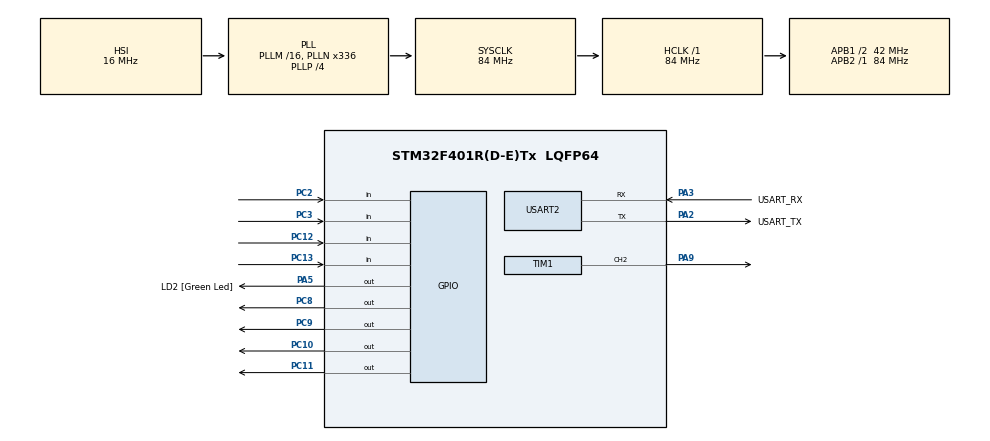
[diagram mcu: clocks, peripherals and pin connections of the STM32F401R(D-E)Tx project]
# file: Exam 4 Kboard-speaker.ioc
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Mcu.Family=STM32F4
Mcu.Name=STM32F401R(D-E)Tx
Mcu.Package=LQFP64
NVIC.PriorityGroup=NVIC_PRIORITYGROUP_0
NVIC.TIM3_IRQn=true\:0\:0\:false\:false\:true\:true\:true\:true
PA13.GPIO_Label=TMS
PA13.Mode=Serial_Wire
PA13.Signal=SYS_JTMS-SWDIO
PA14.GPIO_Label=TCK
PA14.Mode=Serial_Wire
PA14.Signal=SYS_JTCK-SWCLK
PA2.GPIO_Label=USART_TX
PA2.GPIO_Mode=GPIO_MODE_AF_PP
PA2.GPIO_PuPd=GPIO_NOPULL
PA2.GPIO_Speed=GPIO_SPEED_FREQ_LOW
PA2.Mode=Asynchronous
PA2.Signal=USART2_TX
PA3.GPIO_Label=USART_RX
PA3.GPIO_Mode=GPIO_MODE_AF_PP
PA3.GPIO_PuPd=GPIO_NOPULL
PA3.GPIO_Speed=GPIO_SPEED_FREQ_LOW
PA3.Mode=Asynchronous
PA3.Signal=USART2_RX
PA5.GPIO_Label=LD2 [Green Led]
PA5.GPIO_Mode=GPIO_MODE_OUTPUT_PP
PA5.GPIO_PuPd=GPIO_NOPULL
PA5.GPIO_Speed=GPIO_SPEED_FREQ_LOW
PA5.Signal=GPIO_Output
PA9.Signal=S_TIM1_CH2
PB3.GPIO_Label=SWO
PB3.Signal=SYS_JTDO-SWO
PC10.Signal=GPIO_Output
PC11.Signal=GPIO_Output
PC12.Signal=GPIO_Input
PC13-ANTI_TAMP.Signal=GPIO_Input
PC14-OSC32_IN.Mode=LSE-External-Oscillator
PC14-OSC32_IN.Signal=RCC_OSC32_IN
PC15-OSC32_OUT.Mode=LSE-External-Oscillator
PC15-OSC32_OUT.Signal=RCC_OSC32_OUT
PC2.Signal=GPIO_Input
PC3.Signal=GPIO_Input
PC8.Signal=GPIO_Output
PC9.Signal=GPIO_Output
PH0\ -\ OSC_IN.Mode=HSE-External-Clock-Source
PH0\ -\ OSC_IN.Signal=RCC_OSC_IN
PH1\ -\ OSC_OUT.Mode=HSE-External-Clock-Source
PH1\ -\ OSC_OUT.Signal=RCC_OSC_OUT
ProjectManager.HeapSize=0x200
ProjectManager.StackSize=0x400
ProjectManager.TargetToolchain=STM32CubeIDE
RCC.48MHZClocksFreq_Value=48000000
RCC.AHBFreq_Value=84000000
RCC.APB1CLKDivider=RCC_HCLK_DIV2
RCC.APB1Freq_Value=42000000
RCC.APB1TimFreq_Value=84000000
RCC.APB2Freq_Value=84000000
RCC.APB2TimFreq_Value=84000000
RCC.CortexFreq_Value=84000000
RCC.HCLKFreq_Value=84000000
RCC.HSE_VALUE=8000000
RCC.HSI_VALUE=16000000
RCC.PLLN=336
RCC.PLLP=RCC_PLLP_DIV4
RCC.PLLQ=7
RCC.SYSCLKFreq_VALUE=84000000
RCC.SYSCLKSource=RCC_SYSCLKSOURCE_PLLCLK
RCC.VCOOutputFreq_Value=336000000
SH.S_TIM1_CH2.0=TIM1_CH2,PWM Generation2 CH2
TIM1.Channel-PWM\ Generation2\ CH2=TIM_CHANNEL_2
TIM1.Prescaler=84-1
TIM3.Period=100-1
TIM3.Prescaler=8400-1
USART2.VirtualMode=VM_ASYNC
VP_TIM1_VS_ClockSourceINT.Mode=Internal
VP_TIM3_VS_ClockSourceINT.Mode=Internal
board=NUCLEO-F401RE

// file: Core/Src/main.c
/* USER CODE BEGIN Header */
/**
 ******************************************************************************
 * @file           : main.c
 * @brief          : Main program body
 ******************************************************************************
 * @attention
 *
 * Copyright (c) 2023 STMicroelectronics.
 * All rights reserved.
 *
 * This software is licensed under terms that can be found in the LICENSE file
 * in the root directory of this software component.
 * If no LICENSE file comes with this software, it is provided AS-IS.
 *
 ******************************************************************************
 */
/* USER CODE END Header */
#include "main.h"

/* USER CODE BEGIN Includes */
#include <stdio.h>
#include <math.h>
/* USER CODE END Includes */

/* USER CODE BEGIN PD */
#define N_COLS 4
#define N_ROWS 4
/* USER CODE END PD */

TIM_HandleTypeDef htim1;
TIM_HandleTypeDef htim3;

UART_HandleTypeDef huart2;

/* USER CODE BEGIN PV */
//defined pins for output and input in order of correct activation
uint16_t k_input[] = { GPIO_PIN_3, GPIO_PIN_2, GPIO_PIN_13, GPIO_PIN_12 };
uint16_t k_output[] = { GPIO_PIN_8, GPIO_PIN_9, GPIO_PIN_10, GPIO_PIN_11 };

/* USER CODE END PV */

void SystemClock_Config(void);
static void MX_GPIO_Init(void);
static void MX_USART2_UART_Init(void);
static void MX_TIM3_Init(void);
static void MX_TIM1_Init(void);

/* USER CODE BEGIN 0 */
void set_pwm(float freq){
	htim1.Init.Period = 1000000/freq-1;
	if (HAL_TIM_PWM_Init(&htim1) != HAL_OK)	Error_Handler();

	TIM_OC_InitTypeDef sConfigOC = {0};

	sConfigOC.OCMode = TIM_OCMODE_PWM1;
	sConfigOC.Pulse = 1000000/freq/2-1;
	sConfigOC.OCPolarity = TIM_OCPOLARITY_HIGH;
	sConfigOC.OCNPolarity = TIM_OCNPOLARITY_HIGH;
	sConfigOC.OCFastMode = TIM_OCFAST_DISABLE;
	sConfigOC.OCIdleState = TIM_OCIDLESTATE_RESET;
	sConfigOC.OCNIdleState = TIM_OCNIDLESTATE_RESET;
	if (HAL_TIM_PWM_ConfigChannel(&htim1, &sConfigOC, TIM_CHANNEL_2) != HAL_OK)	Error_Handler();
}

void HAL_TIM_PeriodElapsedCallback(TIM_HandleTypeDef *htim) {
	if (htim == &htim3) {
		static const char lett[16] = "CDEF89AB45670123"; //initialized letters array
		static char state[16] = { 0 }; //initialized states of buttons
		static int col = 0; //index for column
		char string[64];
		HAL_GPIO_WritePin(GPIOC, k_output[col], 1);

		for (int i = 0; i < N_ROWS; i++) {
			int on = !HAL_GPIO_ReadPin(GPIOC, k_input[i]);

			if (on && state[col + i * N_ROWS] == 0) {

				int size = sprintf(string, "Pressed char: %c\r\n", lett[col + i * N_ROWS]);
				HAL_UART_Transmit(&huart2, string, size, 50);

				//manage sound and led
				if((col == 0 || col== 3) && (i == 0 || i == 3)){
					set_pwm(58.27*pow(2, col+i/2));
					HAL_TIM_PWM_Start(&htim1, TIM_CHANNEL_2);
				}else{
					HAL_GPIO_WritePin(GPIOA, GPIO_PIN_5, 1);
				}

				state[col + i * N_ROWS] = 1;

			} else if (!on && state[col + i * N_ROWS] == 1) {
				state[col + i * N_ROWS] = 0;
				if((col == 0 || col== 3) && (i == 0 || i == 3)){
					HAL_TIM_PWM_Stop(&htim1, TIM_CHANNEL_2);
				}else{
					HAL_GPIO_WritePin(GPIOA, GPIO_PIN_5, 0);
				}
			}
		}

		HAL_GPIO_WritePin(GPIOC, k_output[col], 0);
		col = (col+1) % N_COLS;
		HAL_GPIO_WritePin(GPIOC, k_output[col], 1);

	}
}
/* USER CODE END 0 */

int main(void)
{

  /* MCU Configuration--------------------------------------------------------*/

  /* Reset of all peripherals, Initializes the Flash interface and the Systick. */
  HAL_Init();

  /* Configure the system clock */
  SystemClock_Config();

  /* Initialize all configured peripherals */
  MX_GPIO_Init();
  MX_USART2_UART_Init();
  MX_TIM3_Init();
  MX_TIM1_Init();
  /* USER CODE BEGIN 2 */
  HAL_TIM_Base_Start_IT(&htim3);

  /* USER CODE END 2 */

  /* Infinite loop */
	while (1) {

	}
}

void SystemClock_Config(void)
{
  RCC_OscInitTypeDef RCC_OscInitStruct = {0};
  RCC_ClkInitTypeDef RCC_ClkInitStruct = {0};

  /** Configure the main internal regulator output voltage
  */
  __HAL_RCC_PWR_CLK_ENABLE();
  __HAL_PWR_VOLTAGESCALING_CONFIG(PWR_REGULATOR_VOLTAGE_SCALE2);

  /** Initializes the RCC Oscillators according to the specified parameters
  * in the RCC_OscInitTypeDef structure.
  */
  RCC_OscInitStruct.OscillatorType = RCC_OSCILLATORTYPE_HSI;
  RCC_OscInitStruct.HSIState = RCC_HSI_ON;
  RCC_OscInitStruct.HSICalibrationValue = RCC_HSICALIBRATION_DEFAULT;
  RCC_OscInitStruct.PLL.PLLState = RCC_PLL_ON;
  RCC_OscInitStruct.PLL.PLLSource = RCC_PLLSOURCE_HSI;
  RCC_OscInitStruct.PLL.PLLM = 16;
  RCC_OscInitStruct.PLL.PLLN = 336;
  RCC_OscInitStruct.PLL.PLLP = RCC_PLLP_DIV4;
  RCC_OscInitStruct.PLL.PLLQ = 7;
  if (HAL_RCC_OscConfig(&RCC_OscInitStruct) != HAL_OK)
  {
    Error_Handler();
  }

  /** Initializes the CPU, AHB and APB buses clocks
  */
  RCC_ClkInitStruct.ClockType = RCC_CLOCKTYPE_HCLK|RCC_CLOCKTYPE_SYSCLK
                              |RCC_CLOCKTYPE_PCLK1|RCC_CLOCKTYPE_PCLK2;
  RCC_ClkInitStruct.SYSCLKSource = RCC_SYSCLKSOURCE_PLLCLK;
  RCC_ClkInitStruct.AHBCLKDivider = RCC_SYSCLK_DIV1;
  RCC_ClkInitStruct.APB1CLKDivider = RCC_HCLK_DIV2;
  RCC_ClkInitStruct.APB2CLKDivider = RCC_HCLK_DIV1;

  if (HAL_RCC_ClockConfig(&RCC_ClkInitStruct, FLASH_LATENCY_2) != HAL_OK)
  {
    Error_Handler();
  }
}

static void MX_TIM1_Init(void)
{

  TIM_ClockConfigTypeDef sClockSourceConfig = {0};
  TIM_MasterConfigTypeDef sMasterConfig = {0};
  TIM_OC_InitTypeDef sConfigOC = {0};
  TIM_BreakDeadTimeConfigTypeDef sBreakDeadTimeConfig = {0};

  htim1.Instance = TIM1;
  htim1.Init.Prescaler = 84-1;
  htim1.Init.CounterMode = TIM_COUNTERMODE_UP;
  htim1.Init.Period = 65535;
  htim1.Init.ClockDivision = TIM_CLOCKDIVISION_DIV1;
  htim1.Init.RepetitionCounter = 0;
  htim1.Init.AutoReloadPreload = TIM_AUTORELOAD_PRELOAD_DISABLE;
  if (HAL_TIM_Base_Init(&htim1) != HAL_OK)
  {
    Error_Handler();
  }
  sClockSourceConfig.ClockSource = TIM_CLOCKSOURCE_INTERNAL;
  if (HAL_TIM_ConfigClockSource(&htim1, &sClockSourceConfig) != HAL_OK)
  {
    Error_Handler();
  }
  if (HAL_TIM_PWM_Init(&htim1) != HAL_OK)
  {
    Error_Handler();
  }
  sMasterConfig.MasterOutputTrigger = TIM_TRGO_RESET;
  sMasterConfig.MasterSlaveMode = TIM_MASTERSLAVEMODE_DISABLE;
  if (HAL_TIMEx_MasterConfigSynchronization(&htim1, &sMasterConfig) != HAL_OK)
  {
    Error_Handler();
  }
  sConfigOC.OCMode = TIM_OCMODE_PWM1;
  sConfigOC.Pulse = 0;
  sConfigOC.OCPolarity = TIM_OCPOLARITY_HIGH;
  sConfigOC.OCNPolarity = TIM_OCNPOLARITY_HIGH;
  sConfigOC.OCFastMode = TIM_OCFAST_DISABLE;
  sConfigOC.OCIdleState = TIM_OCIDLESTATE_RESET;
  sConfigOC.OCNIdleState = TIM_OCNIDLESTATE_RESET;
  if (HAL_TIM_PWM_ConfigChannel(&htim1, &sConfigOC, TIM_CHANNEL_2) != HAL_OK)
  {
    Error_Handler();
  }
  sBreakDeadTimeConfig.OffStateRunMode = TIM_OSSR_DISABLE;
  sBreakDeadTimeConfig.OffStateIDLEMode = TIM_OSSI_DISABLE;
  sBreakDeadTimeConfig.LockLevel = TIM_LOCKLEVEL_OFF;
  sBreakDeadTimeConfig.DeadTime = 0;
  sBreakDeadTimeConfig.BreakState = TIM_BREAK_DISABLE;
  sBreakDeadTimeConfig.BreakPolarity = TIM_BREAKPOLARITY_HIGH;
  sBreakDeadTimeConfig.AutomaticOutput = TIM_AUTOMATICOUTPUT_DISABLE;
  if (HAL_TIMEx_ConfigBreakDeadTime(&htim1, &sBreakDeadTimeConfig) != HAL_OK)
  {
    Error_Handler();
  }
  HAL_TIM_MspPostInit(&htim1);

}

static void MX_TIM3_Init(void)
{

  TIM_ClockConfigTypeDef sClockSourceConfig = {0};
  TIM_MasterConfigTypeDef sMasterConfig = {0};

  htim3.Instance = TIM3;
  htim3.Init.Prescaler = 8400-1;
  htim3.Init.CounterMode = TIM_COUNTERMODE_UP;
  htim3.Init.Period = 100-1;
  htim3.Init.ClockDivision = TIM_CLOCKDIVISION_DIV1;
  htim3.Init.AutoReloadPreload = TIM_AUTORELOAD_PRELOAD_DISABLE;
  if (HAL_TIM_Base_Init(&htim3) != HAL_OK)
  {
    Error_Handler();
  }
  sClockSourceConfig.ClockSource = TIM_CLOCKSOURCE_INTERNAL;
  if (HAL_TIM_ConfigClockSource(&htim3, &sClockSourceConfig) != HAL_OK)
  {
    Error_Handler();
  }
  sMasterConfig.MasterOutputTrigger = TIM_TRGO_RESET;
  sMasterConfig.MasterSlaveMode = TIM_MASTERSLAVEMODE_DISABLE;
  if (HAL_TIMEx_MasterConfigSynchronization(&htim3, &sMasterConfig) != HAL_OK)
  {
    Error_Handler();
  }

}

static void MX_USART2_UART_Init(void)
{

  huart2.Instance = USART2;
  huart2.Init.BaudRate = 115200;
  huart2.Init.WordLength = UART_WORDLENGTH_8B;
  huart2.Init.StopBits = UART_STOPBITS_1;
  huart2.Init.Parity = UART_PARITY_NONE;
  huart2.Init.Mode = UART_MODE_TX_RX;
  huart2.Init.HwFlowCtl = UART_HWCONTROL_NONE;
  huart2.Init.OverSampling = UART_OVERSAMPLING_16;
  if (HAL_UART_Init(&huart2) != HAL_OK)
  {
    Error_Handler();
  }

}

static void MX_GPIO_Init(void)
{
  GPIO_InitTypeDef GPIO_InitStruct = {0};

  /* GPIO Ports Clock Enable */
  __HAL_RCC_GPIOC_CLK_ENABLE();
  __HAL_RCC_GPIOH_CLK_ENABLE();
  __HAL_RCC_GPIOA_CLK_ENABLE();
  __HAL_RCC_GPIOB_CLK_ENABLE();

  /*Configure GPIO pin Output Level */
  HAL_GPIO_WritePin(LD2_GPIO_Port, LD2_Pin, GPIO_PIN_RESET);

  /*Configure GPIO pin Output Level */
  HAL_GPIO_WritePin(GPIOC, GPIO_PIN_8|GPIO_PIN_9|GPIO_PIN_10|GPIO_PIN_11, GPIO_PIN_RESET);

  /*Configure GPIO pins : PC13 PC2 PC3 PC12 */
  GPIO_InitStruct.Pin = GPIO_PIN_13|GPIO_PIN_2|GPIO_PIN_3|GPIO_PIN_12;
  GPIO_InitStruct.Mode = GPIO_MODE_INPUT;
  GPIO_InitStruct.Pull = GPIO_NOPULL;
  HAL_GPIO_Init(GPIOC, &GPIO_InitStruct);

  /*Configure GPIO pin : LD2_Pin */
  GPIO_InitStruct.Pin = LD2_Pin;
  GPIO_InitStruct.Mode = GPIO_MODE_OUTPUT_PP;
  GPIO_InitStruct.Pull = GPIO_NOPULL;
  GPIO_InitStruct.Speed = GPIO_SPEED_FREQ_LOW;
  HAL_GPIO_Init(LD2_GPIO_Port, &GPIO_InitStruct);

  /*Configure GPIO pins : PC8 PC9 PC10 PC11 */
  GPIO_InitStruct.Pin = GPIO_PIN_8|GPIO_PIN_9|GPIO_PIN_10|GPIO_PIN_11;
  GPIO_InitStruct.Mode = GPIO_MODE_OUTPUT_PP;
  GPIO_InitStruct.Pull = GPIO_NOPULL;
  GPIO_InitStruct.Speed = GPIO_SPEED_FREQ_LOW;
  HAL_GPIO_Init(GPIOC, &GPIO_InitStruct);

}

void Error_Handler(void)
{
	__disable_irq();
	while (1) {
	}
}
